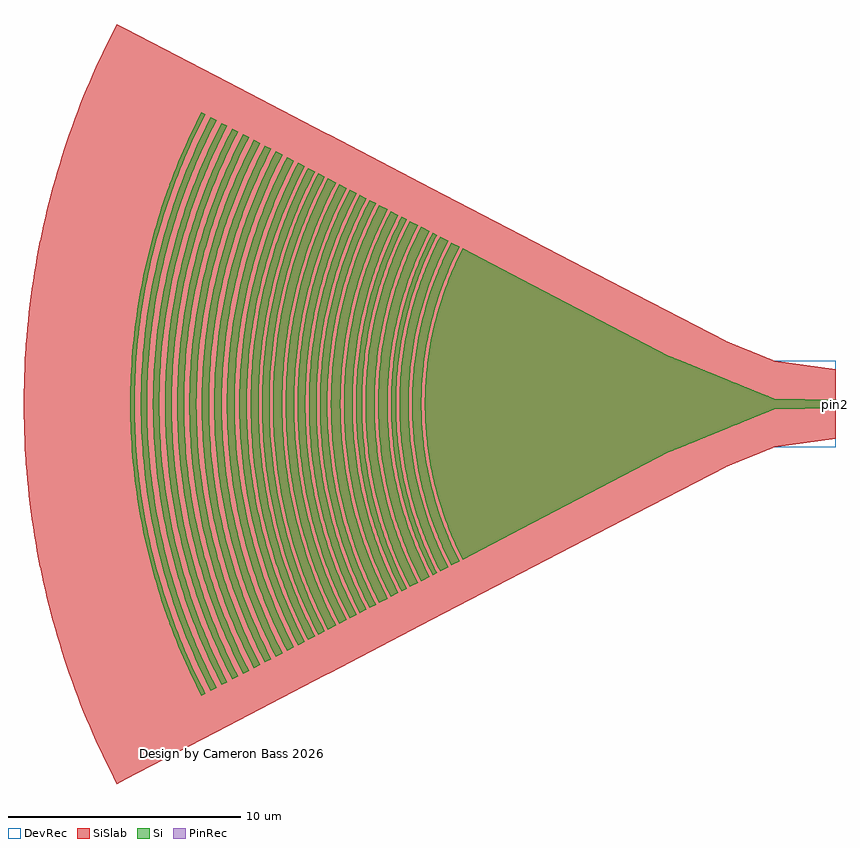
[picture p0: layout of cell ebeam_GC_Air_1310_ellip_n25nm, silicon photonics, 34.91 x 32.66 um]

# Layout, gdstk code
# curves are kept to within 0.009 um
import gdstk
lib = gdstk.Library(unit=1e-6, precision=1e-09)
def P(c, l, *ps):  # polygons
    for p in ps: c.add(gdstk.Polygon(p, *l))
Si = (1, 0)
PinRec = (1, 10)
SiSlab = (2, 0)
DevRec = (68, 0)

ebeam_gc_air_1310_ellip_ = lib.new_cell('ebeam_GC_Air_1310_ellip_n25nm')
P(ebeam_gc_air_1310_ellip_, Si, [(-16.037,-6.682),(-16.444,-5.83),(-16.76,-5.045),(-16.989,-4.376),(-17.254,-3.425),(-17.429,-2.596),(-17.556,-1.76),(-17.634,-0.916),(-17.662,-0.071),(-17.642,0.776),(-17.572,1.62),(-17.453,2.458),(-17.287,3.288),(-17.071,4.107),(-16.76,5.045),(-16.444,5.83),(-16.037,6.682),(-7.148,2.054),(-3.195,0.441),(-2.857,0.315),(-2.701,0.239),(-2.652,0.225),(0,0.175),(0,-0.175),(-2.685,-0.233),(-2.857,-0.315),(-3.21,-0.447),(-7.133,-2.047)],
  [(-16.53,-6.937),(-16.89,-6.189),(-17.227,-5.376),(-17.515,-4.545),(-17.681,-3.983),(-17.79,-3.557),(-17.972,-2.696),(-18.103,-1.828),(-18.193,-0.805),(-18.214,0.074),(-18.184,0.952),(-18.085,1.973),(-17.945,2.841),(-17.755,3.7),(-17.515,4.545),(-17.227,5.376),(-16.89,6.189),(-16.529,6.938),(-16.171,6.751),(-16.524,6.02),(-16.901,5.097),(-17.174,4.286),(-17.399,3.461),(-17.577,2.625),(-17.705,1.778),(-17.792,0.784),(-17.812,0.071),(-17.792,-0.784),(-17.705,-1.778),(-17.577,-2.623),(-17.399,-3.461),(-17.174,-4.286),(-16.901,-5.097),(-16.524,-6.02),(-16.171,-6.751)],
  [(-17.011,-7.188),(-17.384,-6.413),(-17.733,-5.571),(-18.031,-4.71),(-18.28,-3.834),(-18.448,-3.093),(-18.621,-2.045),(-18.714,-1.138),(-18.741,-0.683),(-18.755,-0.076),(-18.733,0.835),(-18.658,1.743),(-18.601,2.195),(-18.504,2.794),(-18.316,3.686),(-18.162,4.274),(-18.031,4.711),(-17.733,5.571),(-17.384,6.413),(-17.011,7.188),(-16.662,7.008),(-17.087,6.115),(-17.418,5.292),(-17.702,4.449),(-17.936,3.593),(-18.12,2.725),(-18.253,1.846),(-18.334,0.962),(-18.364,0.074),(-18.343,-0.813),(-18.253,-1.846),(-18.12,-2.724),(-17.936,-3.593),(-17.702,-4.449),(-17.418,-5.292),(-17.087,-6.115),(-16.662,-7.008)],
  [(-17.331,-7.355),(-17.776,-6.419),(-18.125,-5.554),(-18.421,-4.671),(-18.667,-3.771),(-18.859,-2.859),(-18.999,-1.938),(-19.094,-0.855),(-19.116,0.078),(-19.085,1.009),(-18.999,1.938),(-18.936,2.4),(-18.831,3.012),(-18.63,3.923),(-18.375,4.82),(-18.07,5.7),(-17.713,6.562),(-17.33,7.355),(-17.143,7.257),(-17.583,6.334),(-17.979,5.337),(-18.128,4.902),(-18.306,4.315),(-18.531,3.423),(-18.704,2.52),(-18.824,1.608),(-18.883,0.843),(-18.905,0.077),(-18.89,-0.69),(-18.839,-1.454),(-18.728,-2.368),(-18.595,-3.123),(-18.347,-4.167),(-18.22,-4.609),(-18.03,-5.192),(-17.817,-5.767),(-17.583,-6.334),(-17.143,-7.257)],
  [(-17.827,-7.613),(-18.287,-6.644),(-18.648,-5.749),(-18.955,-4.835),(-19.209,-3.904),(-19.408,-2.959),(-19.552,-2.006),(-19.641,-1.044),(-19.674,-0.08),(-19.65,0.885),(-19.571,1.846),(-19.436,2.802),(-19.316,3.434),(-19.209,3.904),(-18.955,4.835),(-18.648,5.749),(-18.474,6.2),(-18.222,6.792),(-17.827,7.613),(-17.463,7.424),(-17.652,7.05),(-17.914,6.48),(-18.209,5.754),(-18.519,4.864),(-18.775,3.96),(-19.008,2.886),(-19.148,1.956),(-19.212,1.332),(-19.244,0.862),(-19.266,0.078),(-19.244,-0.862),(-19.212,-1.332),(-19.148,-1.956),(-19.008,-2.886),(-18.812,-3.807),(-18.565,-4.715),(-18.264,-5.607),(-17.914,-6.48),(-17.652,-7.05),(-17.463,-7.424)],
  [(-18.307,-7.863),(-18.783,-6.861),(-19.155,-5.937),(-19.473,-4.993),(-19.735,-4.031),(-19.94,-3.056),(-20.09,-2.071),(-20.181,-1.079),(-20.215,-0.083),(-20.191,0.913),(-20.109,1.906),(-19.997,2.729),(-19.879,3.383),(-19.774,3.87),(-19.654,4.354),(-19.473,4.993),(-19.155,5.937),(-18.783,6.862),(-18.307,7.863),(-17.96,7.683),(-18.361,6.853),(-18.553,6.407),(-18.789,5.802),(-19.1,4.879),(-19.356,3.94),(-19.558,2.986),(-19.703,2.024),(-19.793,1.055),(-19.826,0.081),(-19.802,-0.892),(-19.722,-1.863),(-19.638,-2.507),(-19.558,-2.986),(-19.356,-3.939),(-19.1,-4.878),(-18.789,-5.802),(-18.553,-6.406),(-18.361,-6.853),(-17.96,-7.683)],
  [(-18.669,-8.051),(-19.088,-7.18),(-19.479,-6.237),(-19.707,-5.597),(-19.863,-5.112),(-20.132,-4.127),(-20.245,-3.63),(-20.372,-2.962),(-20.515,-1.951),(-20.599,-0.935),(-20.623,0.085),(-20.589,1.104),(-20.495,2.121),(-20.342,3.13),(-20.132,4.127),(-20.005,4.621),(-19.813,5.274),(-19.479,6.237),(-19.088,7.18),(-18.668,8.052),(-18.439,7.933),(-18.714,7.38),(-18.988,6.768),(-19.41,5.674),(-19.568,5.197),(-19.756,4.554),(-19.92,3.904),(-20.027,3.413),(-20.172,2.588),(-20.277,1.757),(-20.342,0.921),(-20.366,0.084),(-20.342,-0.921),(-20.277,-1.757),(-20.172,-2.588),(-20.027,-3.413),(-19.92,-3.904),(-19.756,-4.554),(-19.568,-5.196),(-19.41,-5.674),(-18.988,-6.768),(-18.714,-7.38),(-18.439,-7.932)],
  [(-19.126,-8.29),(-19.559,-7.393),(-19.834,-6.747),(-20.023,-6.258),(-20.357,-5.263),(-20.634,-4.249),(-20.75,-3.737),(-20.881,-3.05),(-21.008,-2.183),(-21.104,-1.137),(-21.14,-0.088),(-21.13,0.613),(-21.104,1.137),(-21.008,2.183),(-20.85,3.222),(-20.634,4.249),(-20.357,5.263),(-20.023,6.258),(-19.63,7.233),(-19.338,7.869),(-19.126,8.29),(-18.802,8.121),(-19.227,7.242),(-19.43,6.77),(-19.679,6.131),(-20.008,5.155),(-20.279,4.163),(-20.492,3.157),(-20.646,2.139),(-20.74,1.115),(-20.775,0.086),(-20.75,-0.943),(-20.684,-1.797),(-20.576,-2.649),(-20.428,-3.493),(-20.279,-4.163),(-20.151,-4.661),(-20.008,-5.155),(-19.796,-5.807),(-19.558,-6.451),(-19.364,-6.928),(-19.084,-7.554),(-18.802,-8.121)],
  [(-19.626,-8.55),(-20.07,-7.626),(-20.485,-6.625),(-20.839,-5.601),(-21.135,-4.559),(-21.368,-3.501),(-21.541,-2.432),(-21.651,-1.353),(-21.682,-0.813),(-21.7,-0.09),(-21.674,0.992),(-21.584,2.073),(-21.433,3.146),(-21.298,3.855),(-21.178,4.384),(-20.893,5.429),(-20.669,6.116),(-20.485,6.625),(-20.07,7.626),(-19.626,8.55),(-19.26,8.36),(-19.55,7.776),(-19.769,7.293),(-20.102,6.476),(-20.283,5.978),(-20.502,5.307),(-20.78,4.285),(-21,3.248),(-21.158,2.202),(-21.255,1.147),(-21.291,0.088),(-21.286,-0.442),(-21.255,-1.147),(-21.158,-2.201),(-21,-3.248),(-20.78,-4.285),(-20.502,-5.306),(-20.283,-5.978),(-20.102,-6.476),(-19.769,-7.293),(-19.55,-7.775),(-19.26,-8.36)],
  [(-20.041,-8.766),(-20.264,-8.319),(-20.573,-7.646),(-20.988,-6.616),(-21.341,-5.564),(-21.634,-4.493),(-21.863,-3.406),(-22.029,-2.308),(-22.131,-1.202),(-22.169,-0.093),(-22.142,1.018),(-22.051,2.124),(-21.981,2.675),(-21.863,3.406),(-21.634,4.493),(-21.341,5.564),(-20.988,6.616),(-20.573,7.647),(-20.343,8.152),(-20.041,8.766),(-19.762,8.621),(-20.06,8.019),(-20.286,7.522),(-20.497,7.018),(-20.756,6.337),(-20.988,5.647),(-21.144,5.124),(-21.285,4.596),(-21.449,3.887),(-21.616,2.992),(-21.739,2.09),(-21.829,1.001),(-21.855,0.091),(-21.845,-0.637),(-21.776,-1.727),(-21.671,-2.632),(-21.487,-3.708),(-21.37,-4.242),(-21.193,-4.949),(-20.988,-5.646),(-20.756,-6.337),(-20.497,-7.017),(-20.286,-7.521),(-19.982,-8.183),(-19.762,-8.621)],
  [(-20.461,-8.985),(-20.931,-8.009),(-21.367,-6.957),(-21.739,-5.882),(-22.05,-4.788),(-22.221,-4.049),(-22.33,-3.49),(-22.5,-2.365),(-22.605,-1.232),(-22.644,-0.095),(-22.616,1.043),(-22.522,2.177),(-22.363,3.304),(-22.26,3.863),(-22.095,4.604),(-21.795,5.702),(-21.622,6.243),(-21.367,6.957),(-20.931,8.009),(-20.461,8.985),(-20.174,8.836),(-20.481,8.217),(-20.786,7.536),(-21.064,6.844),(-21.256,6.317),(-21.431,5.787),(-21.641,5.071),(-21.781,4.528),(-21.943,3.8),(-22.104,2.881),(-22.221,1.956),(-22.293,1.025),(-22.32,0.093),(-22.302,-0.839),(-22.221,-1.956),(-22.104,-2.881),(-21.943,-3.8),(-21.781,-4.528),(-21.641,-5.071),(-21.486,-5.608),(-21.256,-6.317),(-20.997,-7.017),(-20.786,-7.536),(-20.481,-8.217),(-20.174,-8.836)],
  [(-20.896,-9.211),(-21.379,-8.207),(-21.825,-7.13),(-22.207,-6.028),(-22.526,-4.907),(-22.701,-4.149),(-22.813,-3.576),(-22.988,-2.424),(-23.095,-1.262),(-23.134,-0.097),(-23.129,0.486),(-23.095,1.263),(-22.988,2.424),(-22.813,3.577),(-22.572,4.718),(-22.265,5.843),(-21.893,6.949),(-21.458,8.03),(-21.216,8.56),(-20.896,9.211),(-20.598,9.056),(-20.915,8.418),(-21.227,7.72),(-21.512,7.011),(-21.709,6.472),(-21.889,5.928),(-22.104,5.195),(-22.247,4.639),(-22.413,3.893),(-22.578,2.952),(-22.698,2.004),(-22.772,1.051),(-22.8,0.096),(-22.781,-0.86),(-22.717,-1.813),(-22.606,-2.763),(-22.413,-3.893),(-22.247,-4.639),(-22.104,-5.195),(-21.889,-5.928),(-21.709,-6.472),(-21.512,-7.011),(-21.227,-7.72),(-20.915,-8.418),(-20.598,-9.056)],
  [(-21.347,-9.446),(-21.591,-8.959),(-21.923,-8.234),(-22.155,-7.683),(-22.37,-7.125),(-22.751,-5.992),(-23.066,-4.838),(-23.313,-3.668),(-23.492,-2.486),(-23.602,-1.294),(-23.642,-0.1),(-23.637,0.498),(-23.602,1.295),(-23.492,2.486),(-23.313,3.668),(-23.066,4.838),(-22.751,5.992),(-22.37,7.125),(-22.155,7.683),(-21.923,8.235),(-21.591,8.959),(-21.347,9.446),(-21.028,9.28),(-21.269,8.802),(-21.596,8.09),(-21.823,7.548),(-22.102,6.816),(-22.292,6.261),(-22.52,5.511),(-22.718,4.753),(-22.889,3.989),(-23.058,3.025),(-23.181,2.053),(-23.257,1.076),(-23.285,0.098),(-23.266,-0.881),(-23.2,-1.858),(-23.087,-2.831),(-22.889,-3.988),(-22.718,-4.753),(-22.52,-5.511),(-22.352,-6.073),(-22.102,-6.816),(-21.823,-7.548),(-21.596,-8.09),(-21.269,-8.801),(-21.028,-9.28)],
  [(-21.835,-9.699),(-22.084,-9.201),(-22.425,-8.457),(-22.663,-7.891),(-22.884,-7.317),(-23.088,-6.739),(-23.275,-6.154),(-23.446,-5.563),(-23.599,-4.969),(-23.735,-4.37),(-23.852,-3.767),(-23.953,-3.161),(-24.036,-2.553),(-24.149,-1.329),(-24.179,-0.716),(-24.19,-0.102),(-24.161,1.126),(-24.06,2.35),(-23.953,3.161),(-23.852,3.767),(-23.735,4.37),(-23.599,4.969),(-23.446,5.564),(-23.275,6.154),(-23.088,6.739),(-22.884,7.318),(-22.663,7.891),(-22.425,8.457),(-22.084,9.201),(-21.835,9.7),(-21.479,9.515),(-21.813,8.844),(-22.061,8.295),(-22.368,7.553),(-22.58,6.99),(-22.836,6.228),(-23.062,5.458),(-23.212,4.874),(-23.385,4.09),(-23.56,3.101),(-23.686,2.106),(-23.764,1.104),(-23.793,0.1),(-23.774,-0.903),(-23.706,-1.905),(-23.642,-2.504),(-23.56,-3.101),(-23.386,-4.09),(-23.212,-4.874),(-23.062,-5.457),(-22.836,-6.227),(-22.647,-6.799),(-22.368,-7.553),(-22.141,-8.111),(-21.813,-8.844),(-21.479,-9.515)],
  [(-22.249,-9.915),(-22.768,-8.835),(-23.017,-8.258),(-23.249,-7.675),(-23.53,-6.887),(-23.722,-6.29),(-24.053,-5.079),(-24.191,-4.467),(-24.311,-3.85),(-24.414,-3.231),(-24.499,-2.609),(-24.566,-1.985),(-24.615,-1.359),(-24.657,-0.105),(-24.651,0.524),(-24.627,1.151),(-24.524,2.401),(-24.445,3.024),(-24.348,3.645),(-24.234,4.262),(-24.053,5.079),(-23.722,6.29),(-23.53,6.888),(-23.249,7.675),(-23.017,8.259),(-22.768,8.836),(-22.249,9.915),(-21.967,9.769),(-22.308,9.081),(-22.563,8.518),(-22.878,7.756),(-23.096,7.176),(-23.296,6.592),(-23.535,5.803),(-23.695,5.205),(-23.881,4.401),(-24.001,3.794),(-24.102,3.184),(-24.231,2.162),(-24.311,1.133),(-24.341,0.103),(-24.311,-1.133),(-24.231,-2.161),(-24.102,-3.184),(-24.001,-3.794),(-23.881,-4.401),(-23.695,-5.205),(-23.535,-5.802),(-23.296,-6.591),(-23.096,-7.176),(-22.802,-7.947),(-22.563,-8.517),(-22.308,-9.081),(-21.967,-9.769)],
  [(-22.683,-10.141),(-22.946,-9.616),(-23.216,-9.034),(-23.471,-8.444),(-23.708,-7.848),(-23.926,-7.245),(-24.191,-6.432),(-24.37,-5.814),(-24.53,-5.193),(-24.672,-4.567),(-24.832,-3.727),(-24.931,-3.092),(-25.012,-2.455),(-25.074,-1.817),(-25.117,-1.177),(-25.142,-0.534),(-25.148,0.107),(-25.136,0.749),(-25.105,1.39),(-25.055,2.03),(-24.987,2.668),(-24.9,3.304),(-24.794,3.938),(-24.672,4.567),(-24.53,5.193),(-24.37,5.814),(-24.128,6.636),(-23.708,7.848),(-23.471,8.445),(-23.216,9.034),(-22.946,9.616),(-22.682,10.141),(-22.384,9.986),(-22.734,9.281),(-23.078,8.512),(-23.317,7.926),(-23.609,7.136),(-23.808,6.536),(-24.045,5.727),(-24.342,4.498),(-24.535,3.463),(-24.678,2.419),(-24.769,1.369),(-24.8,0.738),(-24.812,0.105),(-24.792,-0.948),(-24.755,-1.579),(-24.7,-2.208),(-24.568,-3.254),(-24.385,-4.292),(-24.251,-4.91),(-24.045,-5.727),(-23.808,-6.536),(-23.609,-7.135),(-23.317,-7.926),(-23.078,-8.512),(-22.734,-9.281),(-22.384,-9.986)],
  [(-23.115,-10.366),(-23.387,-9.823),(-23.663,-9.229),(-23.923,-8.626),(-24.166,-8.017),(-24.596,-6.778),(-24.784,-6.15),(-24.954,-5.517),(-25.105,-4.88),(-25.237,-4.237),(-25.351,-3.591),(-25.446,-2.943),(-25.522,-2.291),(-25.594,-1.419),(-25.626,-0.765),(-25.638,-0.109),(-25.632,0.547),(-25.607,1.202),(-25.562,1.856),(-25.499,2.508),(-25.416,3.16),(-25.277,4.023),(-25.151,4.666),(-25.006,5.305),(-24.842,5.941),(-24.66,6.57),(-24.46,7.195),(-24.242,7.814),(-24.006,8.424),(-23.752,9.029),(-23.481,9.626),(-23.115,10.366),(-22.832,10.22),(-23.192,9.493),(-23.545,8.707),(-23.789,8.108),(-24.016,7.502),(-24.291,6.686),(-24.476,6.066),(-24.695,5.232),(-24.838,4.601),(-25.036,3.542),(-25.129,2.902),(-25.204,2.26),(-25.287,1.185),(-25.319,0.108),(-25.298,-0.97),(-25.26,-1.615),(-25.204,-2.259),(-25.036,-3.542),(-24.838,-4.601),(-24.695,-5.232),(-24.476,-6.066),(-24.291,-6.686),(-24.016,-7.502),(-23.789,-8.108),(-23.459,-8.904),(-23.192,-9.493),(-22.832,-10.219)],
  [(-23.584,-10.611),(-23.866,-10.048),(-24.149,-9.441),(-24.415,-8.824),(-24.663,-8.201),(-24.892,-7.571),(-25.103,-6.934),(-25.296,-6.291),(-25.47,-5.644),(-25.672,-4.773),(-25.8,-4.114),(-25.911,-3.452),(-26.002,-2.788),(-26.073,-2.121),(-26.125,-1.452),(-26.158,-0.782),(-26.171,-0.112),(-26.164,0.559),(-26.138,1.23),(-26.093,1.899),(-26.028,2.566),(-25.943,3.232),(-25.839,3.895),(-25.672,4.773),(-25.523,5.427),(-25.356,6.077),(-25.169,6.721),(-24.964,7.36),(-24.741,7.993),(-24.5,8.618),(-24.24,9.236),(-23.962,9.847),(-23.584,10.611),(-23.29,10.458),(-23.567,9.908),(-23.935,9.107),(-24.191,8.497),(-24.505,7.674),(-24.719,7.048),(-24.976,6.204),(-25.2,5.351),(-25.346,4.706),(-25.549,3.622),(-25.698,2.53),(-25.761,1.872),(-25.806,1.212),(-25.838,0.11),(-25.817,-0.992),(-25.779,-1.652),(-25.721,-2.31),(-25.583,-3.405),(-25.474,-4.056),(-25.346,-4.706),(-25.2,-5.351),(-24.976,-6.204),(-24.579,-7.465),(-24.352,-8.087),(-24.023,-8.905),(-23.662,-9.709),(-23.29,-10.458)],
  [(-24.067,-10.862),(-24.359,-10.28),(-24.648,-9.658),(-24.921,-9.027),(-25.175,-8.39),(-25.409,-7.746),(-25.693,-6.876),(-25.884,-6.216),(-26.055,-5.552),(-26.207,-4.883),(-26.339,-4.209),(-26.452,-3.532),(-26.545,-2.852),(-26.618,-2.17),(-26.671,-1.485),(-26.705,-0.8),(-26.718,-0.114),(-26.711,0.572),(-26.685,1.257),(-26.638,1.942),(-26.545,2.853),(-26.452,3.532),(-26.339,4.21),(-26.207,4.883),(-26.055,5.552),(-25.884,6.216),(-25.693,6.876),(-25.409,7.746),(-25.175,8.39),(-24.921,9.028),(-24.648,9.658),(-24.358,10.28),(-24.067,10.862),(-23.778,10.712),(-24.064,10.142),(-24.351,9.528),(-24.619,8.907),(-24.948,8.067),(-25.174,7.428),(-25.446,6.567),(-25.627,5.915),(-25.84,5.037),(-26.058,3.93),(-26.162,3.262),(-26.248,2.59),(-26.346,1.466),(-26.379,0.79),(-26.392,0.113),(-26.37,-1.015),(-26.33,-1.691),(-26.272,-2.365),(-26.13,-3.485),(-25.934,-4.596),(-25.738,-5.477),(-25.569,-6.133),(-25.314,-6.998),(-25.026,-7.854),(-24.788,-8.488),(-24.442,-9.322),(-24.065,-10.142),(-23.778,-10.712)],
  [(-24.537,-11.107),(-24.838,-10.508),(-25.134,-9.872),(-25.413,-9.227),(-25.672,-8.576),(-25.912,-7.917),(-26.133,-7.251),(-26.397,-6.354),(-26.573,-5.675),(-26.728,-4.991),(-26.863,-4.302),(-26.978,-3.61),(-27.073,-2.916),(-27.148,-2.218),(-27.203,-1.518),(-27.237,-0.818),(-27.25,-0.117),(-27.237,0.818),(-27.203,1.519),(-27.148,2.219),(-27.073,2.916),(-26.978,3.61),(-26.863,4.302),(-26.728,4.991),(-26.573,5.675),(-26.397,6.354),(-26.133,7.251),(-25.912,7.917),(-25.672,8.576),(-25.413,9.228),(-25.134,9.872),(-24.837,10.508),(-24.537,11.107),(-24.259,10.963),(-24.656,10.166),(-24.943,9.535),(-25.296,8.682),(-25.539,8.034),(-25.835,7.159),(-26.033,6.496),(-26.213,5.826),(-26.372,5.153),(-26.513,4.475),(-26.634,3.793),(-26.79,2.649),(-26.891,1.5),(-26.924,0.808),(-26.937,0.115),(-26.931,-0.577),(-26.904,-1.269),(-26.814,-2.419),(-26.734,-3.107),(-26.634,-3.793),(-26.421,-4.927),(-26.213,-5.826),(-26.033,-6.495),(-25.835,-7.159),(-25.54,-8.033),(-25.211,-8.896),(-24.943,-9.535),(-24.656,-10.166),(-24.259,-10.963)],
  [(-25.01,-11.353),(-25.319,-10.738),(-25.622,-10.089),(-25.906,-9.43),(-26.172,-8.764),(-26.416,-8.091),(-26.642,-7.41),(-26.849,-6.723),(-27.035,-6.031),(-27.2,-5.333),(-27.345,-4.631),(-27.469,-3.926),(-27.574,-3.217),(-27.657,-2.504),(-27.72,-1.79),(-27.771,-0.836),(-27.785,-0.12),(-27.778,0.597),(-27.75,1.314),(-27.701,2.029),(-27.632,2.742),(-27.541,3.454),(-27.389,4.396),(-27.251,5.101),(-27.092,5.799),(-26.913,6.494),(-26.713,7.183),(-26.494,7.865),(-26.256,8.54),(-25.997,9.209),(-25.622,10.089),(-25.319,10.738),(-25.01,11.353),(-24.739,11.213),(-25.147,10.394),(-25.44,9.749),(-25.714,9.096),(-26.051,8.214),(-26.28,7.545),(-26.49,6.868),(-26.68,6.186),(-26.902,5.269),(-27.131,4.111),(-27.24,3.412),(-27.329,2.709),(-27.398,2.004),(-27.446,1.297),(-27.48,0.118),(-27.473,-0.59),(-27.446,-1.297),(-27.354,-2.473),(-27.206,-3.645),(-27.09,-4.344),(-26.952,-5.038),(-26.739,-5.957),(-26.555,-6.641),(-26.28,-7.545),(-26.051,-8.214),(-25.714,-9.096),(-25.44,-9.749),(-25.045,-10.607),(-24.739,-11.212)],
  [(-25.472,-11.593),(-25.788,-10.964),(-26.097,-10.301),(-26.387,-9.628),(-26.658,-8.948),(-26.908,-8.261),(-27.139,-7.566),(-27.35,-6.865),(-27.54,-6.158),(-27.761,-5.208),(-27.901,-4.489),(-28.022,-3.767),(-28.121,-3.042),(-28.199,-2.315),(-28.256,-1.584),(-28.291,-0.854),(-28.306,-0.122),(-28.291,0.854),(-28.256,1.584),(-28.199,2.315),(-28.121,3.042),(-28.022,3.767),(-27.901,4.49),(-27.761,5.208),(-27.598,5.921),(-27.415,6.63),(-27.212,7.333),(-26.988,8.03),(-26.744,8.72),(-26.48,9.402),(-26.196,10.078),(-25.788,10.964),(-25.472,11.593),(-25.213,11.459),(-25.631,10.621),(-25.93,9.962),(-26.3,9.071),(-26.555,8.393),(-26.863,7.48),(-27.07,6.787),(-27.258,6.087),(-27.425,5.383),(-27.572,4.675),(-27.698,3.963),(-27.861,2.768),(-27.966,1.567),(-28.001,0.844),(-28.015,0.121),(-27.992,-1.085),(-27.95,-1.807),(-27.887,-2.528),(-27.803,-3.246),(-27.698,-3.962),(-27.572,-4.675),(-27.425,-5.383),(-27.198,-6.32),(-27.003,-7.018),(-26.789,-7.709),(-26.555,-8.393),(-26.3,-9.071),(-25.93,-9.962),(-25.631,-10.621),(-25.213,-11.459)],
  [(-25.937,-11.835),(-26.26,-11.192),(-26.576,-10.515),(-26.872,-9.829),(-27.149,-9.135),(-27.404,-8.433),(-27.64,-7.723),(-27.855,-7.008),(-28.049,-6.286),(-28.274,-5.316),(-28.418,-4.582),(-28.54,-3.845),(-28.642,-3.105),(-28.722,-2.362),(-28.78,-1.617),(-28.816,-0.871),(-28.83,-0.125),(-28.816,0.871),(-28.78,1.617),(-28.722,2.362),(-28.642,3.106),(-28.54,3.846),(-28.418,4.582),(-28.274,5.316),(-28.108,6.044),(-27.922,6.768),(-27.714,7.486),(-27.485,8.197),(-27.237,8.901),(-26.967,9.598),(-26.677,10.287),(-26.367,10.967),(-25.937,11.836),(-25.683,11.704),(-26.11,10.847),(-26.416,10.174),(-26.702,9.492),(-27.054,8.572),(-27.293,7.873),(-27.581,6.931),(-27.772,6.217),(-27.942,5.497),(-28.181,4.289),(-28.295,3.559),(-28.388,2.827),(-28.46,2.091),(-28.51,1.354),(-28.546,0.123),(-28.538,-0.616),(-28.51,-1.354),(-28.414,-2.581),(-28.328,-3.315),(-28.221,-4.046),(-27.995,-5.257),(-27.831,-5.978),(-27.581,-6.93),(-27.293,-7.873),(-27.054,-8.571),(-26.702,-9.492),(-26.416,-10.173),(-26.11,-10.846),(-25.683,-11.704)],
  [(-26.396,-12.074),(-26.726,-11.417),(-27.048,-10.727),(-27.35,-10.026),(-27.632,-9.318),(-27.893,-8.602),(-28.133,-7.878),(-28.352,-7.148),(-28.55,-6.413),(-28.78,-5.423),(-28.927,-4.674),(-29.052,-3.923),(-29.155,-3.168),(-29.237,-2.41),(-29.296,-1.65),(-29.333,-0.889),(-29.348,-0.127),(-29.34,0.636),(-29.311,1.397),(-29.259,2.157),(-29.185,2.916),(-29.089,3.671),(-28.971,4.425),(-28.832,5.174),(-28.611,6.166),(-28.421,6.904),(-28.209,7.637),(-27.975,8.362),(-27.722,9.08),(-27.447,9.791),(-27.048,10.727),(-26.725,11.417),(-26.396,12.074),(-26.152,11.948),(-26.589,11.072),(-26.901,10.385),(-27.286,9.456),(-27.551,8.751),(-27.796,8.037),(-28.09,7.075),(-28.285,6.346),(-28.459,5.612),(-28.613,4.874),(-28.744,4.131),(-28.914,2.886),(-29.024,1.634),(-29.06,0.88),(-29.075,0.126),(-29.067,-0.628),(-29.038,-1.382),(-28.941,-2.636),(-28.853,-3.384),(-28.744,-4.131),(-28.613,-4.874),(-28.459,-5.612),(-28.285,-6.346),(-28.09,-7.074),(-27.796,-8.036),(-27.552,-8.749),(-27.286,-9.456),(-26.901,-10.385),(-26.589,-11.072),(-26.152,-11.948)],
  [(-26.865,-12.319),(-27.307,-11.428),(-27.629,-10.72),(-27.931,-10.002),(-28.211,-9.276),(-28.47,-8.542),(-28.708,-7.801),(-28.924,-7.052),(-29.119,-6.298),(-29.291,-5.539),(-29.44,-4.775),(-29.568,-4.007),(-29.674,-3.236),(-29.756,-2.462),(-29.817,-1.685),(-29.855,-0.908),(-29.87,-0.13),(-29.855,0.908),(-29.817,1.685),(-29.756,2.462),(-29.674,3.236),(-29.568,4.007),(-29.44,4.776),(-29.291,5.54),(-29.119,6.298),(-28.924,7.053),(-28.708,7.801),(-28.47,8.542),(-28.211,9.277),(-27.931,10.002),(-27.629,10.72),(-27.307,11.428),(-26.866,12.32),(-26.619,12.192),(-27.065,11.297),(-27.384,10.596),(-27.777,9.648),(-28.048,8.927),(-28.297,8.2),(-28.525,7.464),(-28.796,6.475),(-28.973,5.726),(-29.222,4.467),(-29.341,3.707),(-29.438,2.944),(-29.512,2.178),(-29.564,1.41),(-29.594,0.642),(-29.602,-0.128),(-29.564,-1.41),(-29.512,-2.178),(-29.438,-2.944),(-29.341,-3.707),(-29.222,-4.467),(-29.081,-5.224),(-28.917,-5.976),(-28.732,-6.723),(-28.452,-7.71),(-28.217,-8.443),(-27.959,-9.169),(-27.682,-9.886),(-27.384,-10.596),(-27.065,-11.297),(-26.619,-12.191)],
  [(-27.264,-12.527),(-27.607,-11.842),(-27.941,-11.126),(-28.254,-10.4),(-28.546,-9.665),(-28.802,-8.964),(-29.065,-8.172),(-29.292,-7.415),(-29.497,-6.652),(-29.679,-5.882),(-29.838,-5.108),(-29.976,-4.329),(-30.091,-3.548),(-30.208,-2.5),(-30.264,-1.792),(-30.308,-0.922),(-30.323,-0.132),(-30.315,0.659),(-30.285,1.448),(-30.231,2.238),(-30.124,3.286),(-30.017,4.069),(-29.887,4.849),(-29.735,5.625),(-29.56,6.396),(-29.363,7.161),(-29.143,7.921),(-28.902,8.674),(-28.639,9.419),(-28.354,10.157),(-27.941,11.127),(-27.607,11.843),(-27.264,12.527),(-27.099,12.441),(-27.431,11.777),(-27.764,11.065),(-28.075,10.343),(-28.457,9.367),(-28.72,8.626),(-28.96,7.877),(-29.246,6.868),(-29.434,6.106),(-29.7,4.822),(-29.829,4.047),(-29.935,3.268),(-30.019,2.486),(-30.08,1.703),(-30.118,0.917),(-30.133,0.131),(-30.125,-0.654),(-30.095,-1.44),(-30.042,-2.225),(-29.965,-3.008),(-29.867,-3.787),(-29.745,-4.564),(-29.601,-5.337),(-29.434,-6.106),(-29.246,-6.868),(-28.96,-7.877),(-28.72,-8.626),(-28.457,-9.367),(-28.174,-10.1),(-27.87,-10.825),(-27.545,-11.541),(-27.098,-12.441)])
P(ebeam_gc_air_1310_ellip_, SiSlab, [(-30.904,-16.329),(-31.366,-15.41),(-31.801,-14.477),(-32.208,-13.533),(-32.588,-12.577),(-32.94,-11.61),(-33.264,-10.634),(-33.559,-9.648),(-33.825,-8.655),(-34.062,-7.654),(-34.27,-6.647),(-34.449,-5.634),(-34.598,-4.616),(-34.717,-3.594),(-34.807,-2.569),(-34.867,-1.543),(-34.9,-0.171),(-34.89,0.857),(-34.85,1.885),(-34.781,2.912),(-34.681,3.935),(-34.552,4.956),(-34.393,5.972),(-34.135,7.319),(-33.907,8.322),(-33.651,9.318),(-33.365,10.307),(-33.051,11.286),(-32.709,12.256),(-32.338,13.216),(-31.94,14.164),(-31.366,15.41),(-30.904,16.329),(-4.744,2.708),(-2.65,1.855),(0,1.5),(0,-1.5),(-2.65,-1.855),(-4.728,-2.7)])
P(ebeam_gc_air_1310_ellip_, DevRec, [(-30.904,-16.329),(-31.366,-15.41),(-31.801,-14.477),(-32.208,-13.533),(-32.588,-12.577),(-32.94,-11.61),(-33.264,-10.634),(-33.559,-9.648),(-33.825,-8.655),(-34.062,-7.654),(-34.27,-6.647),(-34.449,-5.634),(-34.598,-4.616),(-34.717,-3.594),(-34.807,-2.569),(-34.867,-1.543),(-34.9,-0.171),(-34.89,0.857),(-34.85,1.885),(-34.781,2.912),(-34.681,3.935),(-34.552,4.956),(-34.393,5.972),(-34.135,7.319),(-33.907,8.322),(-33.651,9.318),(-33.365,10.307),(-33.051,11.286),(-32.709,12.256),(-32.338,13.216),(-31.94,14.164),(-31.366,15.41),(-30.904,16.329),(-4.744,2.708),(-2.65,1.855),(0,1.855),(0,-1.855),(-2.65,-1.855),(-4.728,-2.7)])
ebeam_gc_air_1310_ellip_.add(gdstk.FlexPath([(-0.01,0),(0.01,0)], 0.35, ends="flush", simple_path=True, layer=1, datatype=10))  # PinRec
ebeam_gc_air_1310_ellip_.add(gdstk.Label('pin2', (0,0), layer=1, texttype=10))
ebeam_gc_air_1310_ellip_.add(gdstk.Label('Design by Cameron Bass 2026', (-25.94,-15.02), layer=10, texttype=0))

lib.write_gds('ebeam_GC_Air_1310_ellip_n25nm.gds')
